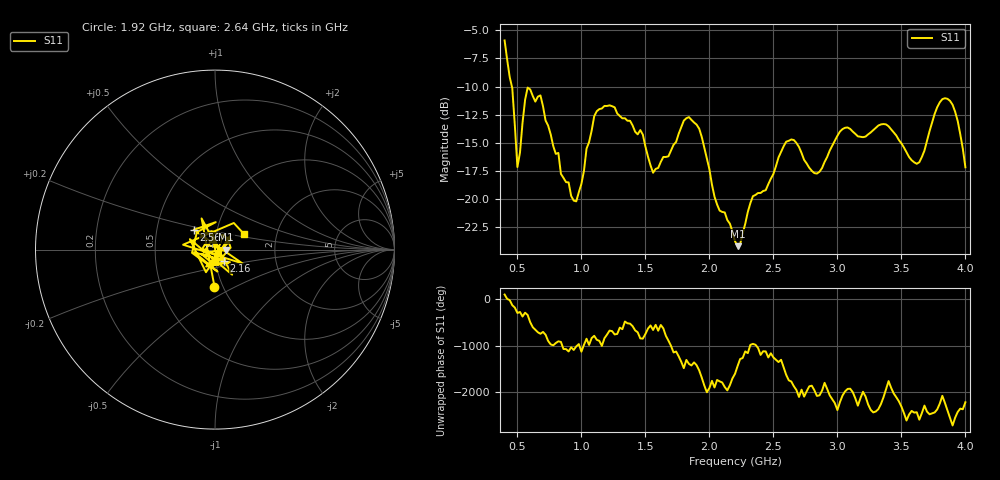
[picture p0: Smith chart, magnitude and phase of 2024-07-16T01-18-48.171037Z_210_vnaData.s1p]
!Created with skrf (http://scikit-rf.org).
# Hz S RI R 50.0
!freq ReS11 ImS11
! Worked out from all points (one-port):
!   181 points, 400 MHz to 4 GHz, reference 50 ohm
!   lowest |S11| = -24.2 dB at 2.22 GHz (marker M1), VSWR 1.13, Z = 56.6 - j0.0771 ohm
!   |S11| at or under -10 dB: 456.8 MHz to end of sweep
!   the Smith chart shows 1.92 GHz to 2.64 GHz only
!   S11 on the Smith chart (normalised r, x): 1.92 GHz: 0.91, -0.39; 2.16 GHz: 1.09, -0.13; 2.56 GHz: 0.77, +0.17; 2.64 GHz: 1.37, +0.24
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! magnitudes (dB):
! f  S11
! 400 MHz  -5.9
! 460 MHz  -10.2
! 500 MHz  -17.2
! 580 MHz  -10.1
! 680 MHz  -10.8
! 860 MHz  -18.1
! 960 MHz  -20.2
! 1.12 GHz  -12.2
! 1.3 GHz  -12.6
! 1.46 GHz  -13.9
! 1.56 GHz  -17.7
! 1.76 GHz  -14.2
! 1.92 GHz  -13.7
! 2.04 GHz  -19.8
! 2.16 GHz  -22.2
! 2.2 GHz  -23.7
! 2.22 GHz  -24.2
! 2.56 GHz  -15.8
! 2.64 GHz  -14.7
! 2.66 GHz  -14.8
! 2.84 GHz  -17.7
! 3.1 GHz  -13.8
! 3.38 GHz  -13.4
! 3.56 GHz  -16.3
! 3.64 GHz  -16.7
! 3.84 GHz  -11.0
! 3.92 GHz  -12.2
! 4 GHz  -17.2
